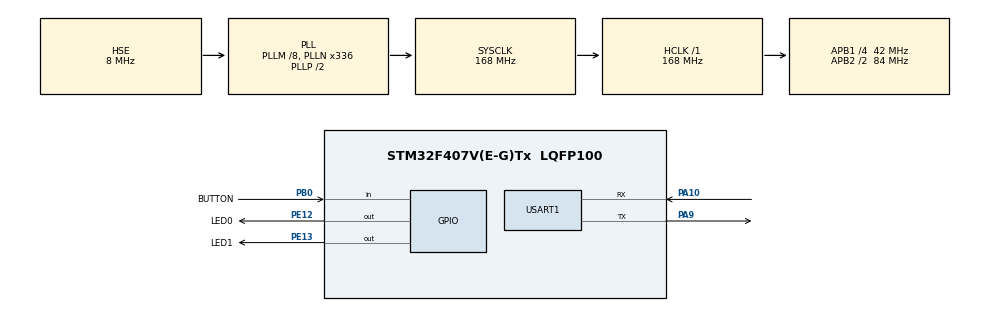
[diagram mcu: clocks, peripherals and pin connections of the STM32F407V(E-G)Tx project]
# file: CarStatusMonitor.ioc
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Mcu.Family=STM32F4
Mcu.Name=STM32F407V(E-G)Tx
Mcu.Package=LQFP100
NVIC.PriorityGroup=NVIC_PRIORITYGROUP_4
PA10.Mode=Asynchronous
PA10.Signal=USART1_RX
PA13.Mode=Trace_Asynchronous_SW
PA13.Signal=SYS_JTMS-SWDIO
PA14.Mode=Trace_Asynchronous_SW
PA14.Signal=SYS_JTCK-SWCLK
PA9.Mode=Asynchronous
PA9.Signal=USART1_TX
PB0.GPIO_Label=BUTTON
PB0.GPIO_PuPd=GPIO_NOPULL
PB0.Signal=GPIO_Input
PB3.Mode=Trace_Asynchronous_SW
PB3.Signal=SYS_JTDO-SWO
PC14-OSC32_IN.Mode=LSE-External-Oscillator
PC14-OSC32_IN.Signal=RCC_OSC32_IN
PC15-OSC32_OUT.Mode=LSE-External-Oscillator
PC15-OSC32_OUT.Signal=RCC_OSC32_OUT
PE12.GPIO_Label=LED0
PE12.GPIO_PuPd=GPIO_PULLUP
PE12.Signal=GPIO_Output
PE13.GPIO_Label=LED1
PE13.GPIO_PuPd=GPIO_PULLUP
PE13.Signal=GPIO_Output
PH0-OSC_IN.Mode=HSE-External-Oscillator
PH0-OSC_IN.Signal=RCC_OSC_IN
PH1-OSC_OUT.Mode=HSE-External-Oscillator
PH1-OSC_OUT.Signal=RCC_OSC_OUT
ProjectManager.HeapSize=0x200
ProjectManager.StackSize=0x400
ProjectManager.TargetToolchain=MDK-ARM V5
RCC.48MHZClocksFreq_Value=48000000
RCC.AHBFreq_Value=168000000
RCC.APB1CLKDivider=RCC_HCLK_DIV4
RCC.APB1Freq_Value=42000000
RCC.APB1TimFreq_Value=84000000
RCC.APB2CLKDivider=RCC_HCLK_DIV2
RCC.APB2Freq_Value=84000000
RCC.APB2TimFreq_Value=168000000
RCC.CortexFreq_Value=168000000
RCC.HCLKFreq_Value=168000000
RCC.HSE_VALUE=8000000
RCC.HSI_VALUE=16000000
RCC.PLLM=8
RCC.PLLN=336
RCC.PLLQ=7
RCC.PLLSourceVirtual=RCC_PLLSOURCE_HSE
RCC.RCC_MCO1Source=RCC_MCO1SOURCE_PLLCLK
RCC.RCC_MCODiv1=RCC_MCODIV_5
RCC.RCC_RTC_Clock_Source=RCC_RTCCLKSOURCE_LSE
RCC.RCC_RTC_Clock_SourceVirtual=RCC_RTCCLKSOURCE_LSE
RCC.SYSCLKFreq_VALUE=168000000
RCC.SYSCLKSource=RCC_SYSCLKSOURCE_PLLCLK
RCC.VCOOutputFreq_Value=336000000
USART1.VirtualMode=VM_ASYNC
VP_CRC_VS_CRC.Mode=CRC_Activate
VP_RTC_VS_RTC_Activate.Mode=RTC_Enabled
VP_RTC_VS_RTC_Calendar.Mode=RTC_Calendar
board=custom

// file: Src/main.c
/**
  ******************************************************************************
  * @file           : main.c
  * @brief          : Main program body
  ******************************************************************************
  ** This notice applies to any and all portions of this file
  * that are not between comment pairs USER CODE BEGIN and
  * USER CODE END. Other portions of this file, whether
  * inserted by the user or by software development tools
  * are owned by their respective copyright owners.
  *
  * COPYRIGHT(c) 2019 STMicroelectronics
  *
  * Redistribution and use in source and binary forms, with or without modification,
  * are permitted provided that the following conditions are met:
  *   1. Redistributions of source code must retain the above copyright notice,
  *      this list of conditions and the following disclaimer.
  *   2. Redistributions in binary form must reproduce the above copyright notice,
  *      this list of conditions and the following disclaimer in the documentation
  *      and/or other materials provided with the distribution.
  *   3. Neither the name of STMicroelectronics nor the names of its contributors
  *      may be used to endorse or promote products derived from this software
  *      without specific prior written permission.
  *
  * THIS SOFTWARE IS PROVIDED BY THE COPYRIGHT HOLDERS AND CONTRIBUTORS "AS IS"
  * AND ANY EXPRESS OR IMPLIED WARRANTIES, INCLUDING, BUT NOT LIMITED TO, THE
  * IMPLIED WARRANTIES OF MERCHANTABILITY AND FITNESS FOR A PARTICULAR PURPOSE ARE
  * DISCLAIMED. IN NO EVENT SHALL THE COPYRIGHT HOLDER OR CONTRIBUTORS BE LIABLE
  * FOR ANY DIRECT, INDIRECT, INCIDENTAL, SPECIAL, EXEMPLARY, OR CONSEQUENTIAL
  * DAMAGES (INCLUDING, BUT NOT LIMITED TO, PROCUREMENT OF SUBSTITUTE GOODS OR
  * SERVICES; LOSS OF USE, DATA, OR PROFITS; OR BUSINESS INTERRUPTION) HOWEVER
  * CAUSED AND ON ANY THEORY OF LIABILITY, WHETHER IN CONTRACT, STRICT LIABILITY,
  * OR TORT (INCLUDING NEGLIGENCE OR OTHERWISE) ARISING IN ANY WAY OUT OF THE USE
  * OF THIS SOFTWARE, EVEN IF ADVISED OF THE POSSIBILITY OF SUCH DAMAGE.
  *
  ******************************************************************************
  */
#include "main.h"
#include "stm32f4xx_hal.h"
#include "crc.h"
#include "rtc.h"
#include "usart.h"
#include "gpio.h"

/* USER CODE BEGIN Includes */
#include "menu.h"

/* USER CODE END Includes */

/* USER CODE BEGIN PV */
/* Private variables ---------------------------------------------------------*/
extern pFunction JumpToApplication;
extern uint32_t JumpAddress;

/* USER CODE END PV */

void SystemClock_Config(void);

/* USER CODE BEGIN PFP */
/* Private function prototypes -----------------------------------------------*/

/* USER CODE END PFP */

/* USER CODE BEGIN 0 */

static void IAP_Init(void);
/* USER CODE END 0 */

int main(void)
{
  /* USER CODE BEGIN 1 */
	uint32_t tickstart = 0U;
	uint32_t Timeout = 30000;
  /* USER CODE END 1 */

  /* MCU Configuration----------------------------------------------------------*/

  /* Reset of all peripherals, Initializes the Flash interface and the Systick. */
  HAL_Init();

  /* Configure the system clock */
  SystemClock_Config();

  /* Initialize all configured peripherals */
  MX_GPIO_Init();
  MX_USART1_UART_Init();
  MX_CRC_Init();
  MX_RTC_Init();
  /* USER CODE BEGIN 2 */
	tickstart = HAL_GetTick();
	while((HAL_GetTick() - tickstart ) < Timeout)
	{
		if(HAL_GPIO_ReadPin(BUTTON_GPIO_Port,BUTTON_Pin) == 0)
		{
			Main_Menu();
		}
	}
	/* Test if user code is programmed starting from address "APPLICATION_ADDRESS" */
    if (((*(__IO uint32_t*)APPLICATION_ADDRESS) & 0x2FFE0000 ) == 0x20000000)
    {
      /* Jump to user application */
      JumpAddress = *(__IO uint32_t*) (APPLICATION_ADDRESS + 4);
      JumpToApplication = (pFunction) JumpAddress;
      /* Initialize user application's Stack Pointer */
      __set_MSP(*(__IO uint32_t*) APPLICATION_ADDRESS);
      JumpToApplication();
    }
  /* USER CODE END 2 */

  /* Infinite loop */
  /* USER CODE BEGIN WHILE */
  while (1)
  {
	HAL_Delay(10000);
	  HAL_GPIO_TogglePin(LED0_GPIO_Port,LED0_Pin);
	  HAL_GPIO_TogglePin(LED1_GPIO_Port,LED1_Pin);
  /* USER CODE END WHILE */

  }

}

void SystemClock_Config(void)
{

  RCC_OscInitTypeDef RCC_OscInitStruct;
  RCC_ClkInitTypeDef RCC_ClkInitStruct;
  RCC_PeriphCLKInitTypeDef PeriphClkInitStruct;

    /**Configure the main internal regulator output voltage
    */
  __HAL_RCC_PWR_CLK_ENABLE();

  __HAL_PWR_VOLTAGESCALING_CONFIG(PWR_REGULATOR_VOLTAGE_SCALE1);

    /**Initializes the CPU, AHB and APB busses clocks
    */
  RCC_OscInitStruct.OscillatorType = RCC_OSCILLATORTYPE_HSE|RCC_OSCILLATORTYPE_LSE;
  RCC_OscInitStruct.HSEState = RCC_HSE_ON;
  RCC_OscInitStruct.LSEState = RCC_LSE_ON;
  RCC_OscInitStruct.PLL.PLLState = RCC_PLL_ON;
  RCC_OscInitStruct.PLL.PLLSource = RCC_PLLSOURCE_HSE;
  RCC_OscInitStruct.PLL.PLLM = 8;
  RCC_OscInitStruct.PLL.PLLN = 336;
  RCC_OscInitStruct.PLL.PLLP = RCC_PLLP_DIV2;
  RCC_OscInitStruct.PLL.PLLQ = 7;
  if (HAL_RCC_OscConfig(&RCC_OscInitStruct) != HAL_OK)
  {
    _Error_Handler(__FILE__, __LINE__);
  }

    /**Initializes the CPU, AHB and APB busses clocks
    */
  RCC_ClkInitStruct.ClockType = RCC_CLOCKTYPE_HCLK|RCC_CLOCKTYPE_SYSCLK
                              |RCC_CLOCKTYPE_PCLK1|RCC_CLOCKTYPE_PCLK2;
  RCC_ClkInitStruct.SYSCLKSource = RCC_SYSCLKSOURCE_PLLCLK;
  RCC_ClkInitStruct.AHBCLKDivider = RCC_SYSCLK_DIV1;
  RCC_ClkInitStruct.APB1CLKDivider = RCC_HCLK_DIV4;
  RCC_ClkInitStruct.APB2CLKDivider = RCC_HCLK_DIV2;

  if (HAL_RCC_ClockConfig(&RCC_ClkInitStruct, FLASH_LATENCY_5) != HAL_OK)
  {
    _Error_Handler(__FILE__, __LINE__);
  }

  PeriphClkInitStruct.PeriphClockSelection = RCC_PERIPHCLK_RTC;
  PeriphClkInitStruct.RTCClockSelection = RCC_RTCCLKSOURCE_LSE;
  if (HAL_RCCEx_PeriphCLKConfig(&PeriphClkInitStruct) != HAL_OK)
  {
    _Error_Handler(__FILE__, __LINE__);
  }

    /**Configure the Systick interrupt time
    */
  HAL_SYSTICK_Config(HAL_RCC_GetHCLKFreq()/1000);

    /**Configure the Systick
    */
  HAL_SYSTICK_CLKSourceConfig(SYSTICK_CLKSOURCE_HCLK);

  /* SysTick_IRQn interrupt configuration */
  HAL_NVIC_SetPriority(SysTick_IRQn, 0, 0);
}

/* USER CODE BEGIN 4 */
/**
  * @brief  Initialize the IAP: Configure USART.
  * @param  None
  * @retval None
  */
void IAP_Init(void)
{
  /* USART resources configuration (Clock, GPIO pins and USART registers) ----*/
  /* USART configured as follow:
        - BaudRate = 115200 baud
        - Word Length = 8 Bits
        - One Stop Bit
        - No parity
        - Hardware flow control disabled (RTS and CTS signals)
        - Receive and transmit enabled
  */

}

/* USER CODE END 4 */

void _Error_Handler(char *file, int line)
{
  while(1)
  {
  }
}

/************************ (C) COPYRIGHT STMicroelectronics *****END OF FILE****/
